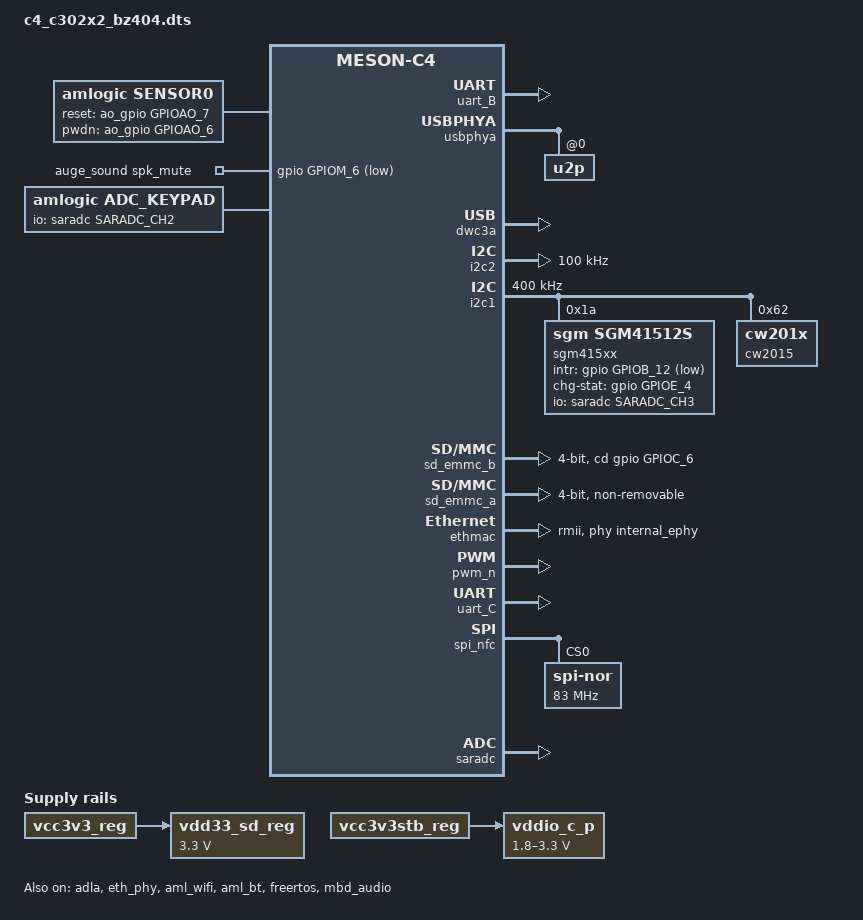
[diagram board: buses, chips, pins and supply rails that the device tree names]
// SPDX-License-Identifier: (GPL-2.0+ OR MIT)
/*
 * Copyright (c) 2019 Amlogic, Inc. All rights reserved.
 */

/dts-v1/;

#include "meson-c4.dtsi"
#include "mesonc4_audio.dtsi"
/ {
	amlogic-dt-id = "c4_c302x2_bz404";
	compatible = "c4_c302x2_bz404";

	aliases {
		serial0 = &uart_B;
		serial1 = &uart_C;
		serial2 = &uart_A;
		serial3 = &uart_E;
		serial4 = &uart_D;
		serial5 = &uart_F;
		i2c0 = &i2c0;
		i2c1 = &i2c1;
		i2c2 = &i2c2;
		i2c3 = &i2c3;
		i2c4 = &i2c4;
		spi0 = &spi_nfc;
		spi1 = &spicc0;
		spi2 = &spicc1;
		tsensor0 = &tsensor;
	};

	chosen {
		stdout-path = "serial0:115200n8";
		linux,initrd-start = <0x0 0x1780000>;
		linux,initrd-end = <0x0 0x2200000>;
		bootargs = "console=ttyS0,921600  earlycon=aml_uart,0xfe07a000
			debug initcall_debug=0 loglevel=7
			module_blacklist=amlogic_wireless
			ramdisk_size=10752 storage_async_load_ramdisk=1
			otg_device=1";
	};

	memory@0 {
		device_type = "memory";
		linux,usable-memory = <0x0 0x20000000>;
	};

	optee {
		compatible = "linaro,optee-tz";
		method = "smc";
		status = "disabled";
	};

	reserved-memory {
		#address-cells = <1>;
		#size-cells = <1>;
		ranges;

		ramdump_bl33z {
			compatible = "shared-dma-pool";
			size = <0x01800000>;
			alignment = <0x00400000>;
			alloc-ranges = <0x10000000 0x02000000>;
			linux,contiguous-region;
			no-map;
			status = "disabled";
		};

		ramdump_data@0 {
			reg = <0x0 0x0>;
			status = "disabled"; /* disabled as default */
		};

		skip_range_1 {
			compatible = "skip_mem";
			size = <0x00100000>;
			reg = <0x10000000 0x00100000>;
			no-map;
			status = "okay";
		};

		secmon_reserved:linux,secmon {
			compatible = "shared-dma-pool";
			no-map;
			alignment = <0x10000>;
			reg = <0x0fef0000 0x00110000>;
		};
		nna_cma_reserved: linux,nna_cma {
			compatible = "shared-dma-pool";
			//alloc-ranges = <0x70000000 0x18000000>;
			size = <0x1000000>;
			alignment = <0x400000>;
			reusable;
			//no-map;
			status = "disabled";
		};

		logo_reserved:linux,meson-fb {
			compatible = "shared-dma-pool";
			reusable;
			/* keep sync with fb */
			/* fox example:logo_addr = "0x3f800000"*/
			size = <0x1800000>;
			alignment = <0x400000>;
			reg = <0xe800000 0x1800000>;
				status = "disabled";
		};

		ion_cma_reserved:linux,ion-dev {
			compatible = "shared-dma-pool";
			reusable;
			size = <0x3000000>;
			alignment = <0x400000>;
				status = "disabled";
		};

		rootfs_reserved:linux,rootfs_reserved {
			compatible = "amlogic, aml_rootfs_memory";
			reg = <0x1080000 0xA00000>;
			status = "okay";
		};

		rtos_reserved:linux,rtos_reserved {
			compatible = "amlogic, aml_rtos_memory";
			status = "okay";
			size = <0x1F00000>;
			alignment = <0x100000>;
			reg = <0x2200000 0x1F00000>;
		};

		autocap_reserved:linux,autocap_reserved {
			compatible = "amlogic, aml_autocap_memory";
			status = "okay";
			reg = <0x6B00000 0xC00000>;
			venc_bsb_addr = <0x0>;
			venc_bsb_size = <0x0>;
			fastboot_buf_addr = <0xB700000>;
			fastboot_buf_size = <0x4000000>;
		};

		dsp_fw_reserved:linux,dsp_fw {
			compatible = "shared-dma-pool";
			reusable;
			alignment = <0x400000>;
			reg = <0x3400000 0x0>;
			status = "disabled";
		};

		ramoops@8400000 {
			compatible = "ramoops";
			status = "okay";
			reg = <0x08400000 0x00100000>;
			record-size = <0x20000>;
			console-size = <0x20000>;
			ftrace-size = <0x80000>;
			pmsg-size = <0x0>;
			no-map;
		};

		dmc_reserved:linux,dmc_monitor {
			compatible = "amlogic,dmc_monitor-reserved";
			reg = <0x0 0x0>;
				status = "disabled";
		};

		debug_reserved:linux,iotrace {
			compatible = "amlogic, iotrace";
			reg = <0x04f00000 0x00100000>;
			io-size = <0x1b000>;
			sched-size = <0x2000>;
			irq-size = <0x1000>;
			smc-size = <0x1000>;
			misc-size = <0x1000>;
			status = "disabled";
		};

		pmz_cma_a1_reserved:anonymous {
			compatible = "shared-dma-pool";
			no-map;
			size = <0xC800000>;
			alignment = <0x100000>;
			reg = <0x013800000 0xC800000>;
			status = "okay";
		};

		pmz_cma_a2_reserved:user_pmz {
			compatible = "shared-dma-pool";
			//reusable;
			no-map;
			alignment = <0x100000>;
			reg = <0xB700000 0x4000000>;
			status = "okay";

		};

		codec_mm_cma:linux,codec_mm_cma {
			compatible = "shared-dma-pool";
			reusable;
			/* ion_codec_mm max can alloc size 80M*/
			size = <0x2400000>;
			alignment = <0x400000>;
			linux,contiguous-region;
			status = "disabled";
		};
		/* codec shared reserved */
		codec_mm_reserved:linux,codec_mm_reserved {
			compatible = "amlogic, codec-mm-reserved";
			size = <0x0>;
			alignment = <0x100000>;
			//no-map;
			status = "disabled";
		};
		jpegenc_cma_reserved:linux,jpegenc_cma {
			compatible = "shared-dma-pool";
			reusable;
			size = <0x0>;
			alignment = <0x400000>;
			status = "disabled";
		};

		/* global autoconfigured region for contiguous allocations */
		linux,cma {
			compatible = "shared-dma-pool";
			reusable;
			size = <0x800000>;
			alignment = <0x400000>;
			alloc-ranges = <0x6000000 0x800000>;
			linux,cma-default;
		};
	};

	sensor0: sensor0 {
		compatible = "amlogic, sensor0";
		status = "okay";
		clocks = <&clkc CLKID_MCLK_PLL_CLK
				&clkc CLKID_MCLK0>;
		clock-names = "mclk_pll", "mclk";
		clock-frequency = <74250000>;
		devices-type = <0>;
		reset-gpios = <&ao_gpio GPIOAO_7 GPIO_ACTIVE_HIGH>;
		pwdn-gpios = <&ao_gpio GPIOAO_6 GPIO_ACTIVE_HIGH>;
	};

	pmz_a1_dev {
		compatible = "amlogic, pmz_dev";
		memory-region = <&pmz_cma_a1_reserved>;
		pmz-allocator = "priv";
	};

/* Audio Related start */
	auge_sound {
		compatible = "amlogic, auge-sound-card";
		aml-audio-card,name = "AML-AUGESOUND";
		spk_mute-gpios = <&gpio GPIOM_6 GPIO_ACTIVE_LOW>;
		spk_mute_sleep_time = <800>;

		aml-audio-card,dai-link@0 {
			format = "dsp_b";
			mclk-fs = <512>;
			//continuous-clock;
			//bitclock-inversion;
			//frame-inversion;
			/* master mode */
			bitclock-master = <&tdma>;
			frame-master = <&tdma>;
			/* slave mode */
			/*
			 * bitclock-master = <&tdmacodec>;
			 * frame-master = <&tdmacodec>;
			 */
			/* suffix-name, sync with android audio hal used for */
			suffix-name = "alsaPORT-pcm";
			tdmacpu: cpu {
				sound-dai = <&tdma>;
				dai-tdm-slot-tx-mask =
							<1 1>;
				dai-tdm-slot-rx-mask =
							<1 1>;
				dai-tdm-slot-num = <2>;
				dai-tdm-slot-width = <16>;
				system-clock-frequency = <256000>;
			};
			tdmacodec: codec {
				sound-dai = <&dummy_codec>;
			};
		};

		aml-audio-card,dai-link@1 {
			format = "i2s";
			mclk-fs = <256>;
			continuous-clock;
			//bitclock-inversion;
			//frame-inversion;
			/* master mode */
			bitclock-master = <&tdmb>;
			frame-master = <&tdmb>;
			/* slave mode */
			//bitclock-master = <&tdmbcodec>;
			//frame-master = <&tdmbcodec>;
			/* suffix-name, sync with android audio hal used for */
			suffix-name = "alsaPORT-i2s";
			cpu {
				sound-dai = <&tdmb>;
				dai-tdm-slot-tx-mask = <1 1>;
				dai-tdm-slot-rx-mask = <1 1>;
				dai-tdm-slot-num = <2>;
				dai-tdm-slot-width = <32>;
				system-clock-frequency = <12288000>;
			};
			tdmbcodec: codec {
				sound-dai = <&acodec>;
			};
		};

		aml-audio-card,dai-link@2 {
			mclk-fs = <64>;
			/* suffix-name, sync with android audio hal used for */
			suffix-name = "alsaPORT-pdm-builtinmic";
			cpu {
				sound-dai = <&pdma>;
			};
			codec {
				sound-dai = <&dummy_codec>;
			};
		};

		aml-audio-card,dai-link@3 {
			mclk-fs = <256>;
			continuous-clock;
			suffix-name = "alsaPORT-loopback";
			cpu {
				sound-dai = <&loopbacka>;
				system-clock-frequency = <12288000>;
			};
			codec {
				sound-dai = <&dummy_codec>;
			};
		};
		aml-audio-card,dai-link@4 {
			mclk-fs = <256>;
			suffix-name = "alsaPORT-Sed";
			cpu {
				sound-dai = <&sed>;
			};
			codec {
				sound-dai = <&dummy_codec>;
			};
		};
	};
	/* Audio Related end */
	picdec {
		compatible = "amlogic, picdec";
		status = "disabled";
	};

	//TF_PWR_EN :GPIOB_4(Default Pull up)
	//L: VDD3V3_SD = 0V (Default)
	vdd33_sd_reg: fixed@vdd33_sd_reg{
		compatible = "regulator-fixed";
		vin-supply = <&vcc3v3_reg>;
		regulator-name = "VDD33_SD";
		regulator-min-microvolt = <3300000>;
		regulator-max-microvolt = <3300000>;
		pinctrl-names = "default";
		//gpio = <&gpio GPIOB_4 GPIO_ACTIVE_HIGH>;
		startup-delay-us = <7000>;
		enable-active-high;
		regulator-boot-on;
		//regulator-always-on;
	};

	//FB: GPIOB_5(SD_SW Default up) Pull up 1.8V
	vddio_c_p: gpio-regulator@vddio_c_p {
		compatible = "regulator-gpio";
		regulator-name = "VDDIO_C_P";
		vin-supply = <&vcc3v3stb_reg>;
		regulator-min-microvolt = <1800000>;
		regulator-max-microvolt = <3300000>;
		//gpio = <&gpio GPIOB_5 GPIO_ACTIVE_HIGH>;
		gpios-states = <0>;
		startup-delay-us = <7000>;
		regulator-boot-on;
		//regulator-always-on;

		states = <1800000 1
			  3300000 0>;
	};

	unifykey{
		compatible = "amlogic,unifykey";
		status = "okay";
		unifykey-num = <2>;
		unifykey-index-0 = <&keysn_0>;
		unifykey-index-1 = <&keysn_1>;

		keysn_0: key_0{
			key-name = "usid";
			key-device = "normal";
			key-permit = "read","write","del";
		};
		keysn_1:key_1{
			key-name = "hdcp";
			key-device = "secure";
			key-type = "sha1";
			key-permit = "read","write","del";
		};
	};//End unifykey

	adc_keypad {
		compatible = "amlogic, adc_keypad";
		status = "okay";
		key_name = "update", "vol-", "vol+", "ok";
		key_num = <4>;
		io-channels = <&saradc SARADC_CH2>;
		io-channel-names = "key-chan-2";
		key_chan = <SARADC_CH2 SARADC_CH2 SARADC_CH2 SARADC_CH2>;
		key_code = <KEY_SETUP KEY_VOLUMEDOWN KEY_VOLUMEUP KEY_ENTER>;
		key_val = <0 252 468 684>;	// Unit: millivolt
		key_tolerance = <70 70 70 70>;	// Unit: millivolt
	};
};

&uart_B {
	status = "okay";
};

&usbphya {
	status = "okay";
	u2p@0 {
		status = "okay";
	};
};

&dwc3otg {
	status = "disabled";
	dr_mode = "otg"; /*otg, host,peripheral */
	controller-type = <1>; /*3:otg, 1: host,2:peripheral */
};

&dwc3a {
	status = "okay";
};

&i2c2 {
	status = "okay";
	pinctrl-names = "default", "sleep";
	pinctrl-0 = <&i2c2_master_pins1>;
	pinctrl-1 = <&i2c2_master_sleep_pins1>;
	clock-frequency = <100000>; /* default 100k */
};

&i2c1 {
	status= "okay";
	clock-frequency = <400000>;
	pinctrl-names = "default", "sleep";
	pinctrl-0 = <&i2c1_master_pins5>;
	pinctrl-1 = <&i2c1_master_sleep_pins5>;

	sgm415xx@1a {
		status = "okay";
		compatible = "sgm,sgm41512S";
		reg = <0x1A>;

		sgm,intr_gpio = <&gpio GPIOB_12 GPIO_ACTIVE_LOW>;
		sgm,chg-stat-gpio = <&gpio GPIOE_4 GPIO_ACTIVE_HIGH>;
		sgm,input-voltage-limit-microvolt = <4500000>;
		sgm,sys_min_voltage = <3700000>; //uV
		sgm,iprechg = <120000>; //uA
		sgm,iterm = <120000>; //uA
		sgm,vreg = <4350000>; //uV
		sgm,qc20 = <0>; //1:En, 0:dis
		io-channels = <&saradc SARADC_CH3>;   /* channel 3 */
	};

	cw2015: cw2015@62 {
		status = "okay";
		compatible = "cw201x";
		reg = <0x62>;
		bat_config_info = <0x15 0x7E 0x84 0x3C 0x1E 0x12 0x1A 0x45
				0x50 0x62 0x5A 0x4B 0x46 0x4C 0x53 0x59
				0x5A 0x5B 0x56 0x4C 0x46 0x43 0x43 0x46
				0x4A 0x4E 0x0C 0xCD 0x51 0x81 0x83 0x84
				0x85 0x84 0x83 0x83 0x37 0x0A 0x5E 0x29
				0x09 0x58 0x24 0x5A 0x87 0x93 0x94 0x32
				0x4D 0x7F 0x97 0xB3 0x80 0x6D 0x80 0xCB
				0x2F 0x00 0x64 0xA5 0xB5 0xC1 0x46 0xAE>;
		monitor_sec = <60>;
		virtual_power = <0>;
		divider_res1 = <200>;
		divider_res2 = <200>;
	};
};

&adla {
	status = "okay";
	memory-region = <&nna_cma_reserved>;
};

&sd_emmc_c {
	status = "disabled";
	pinctrl-0 = <&emmc_pins>;
	pinctrl-1 = <&emmc_clk_gate_pins>;
	pinctrl-2 = <&emmc_pins_sleep>;
	pinctrl-names = "default", "clk-gate", "sleep";
	bus-width = <8>;
	cap-mmc-highspeed;
	//mmc-ddr-1_8v;
	mmc-hs200-1_8v;
	mmc-hs400-1_8v;
	mmc-hs400-enhanced-strobe;
	max-frequency = <200000000>;
	non-removable;
	disable-wp;
};

&sd_emmc_b {
	status = "okay";
	pinctrl-0 = <&sdcard_pins>;
	pinctrl-1 = <&sdcard_clk_gate_pins>;
	pinctrl-2 = <&sd_1bit_pins>;
	pinctrl-names = "sd_default",
			"clk-gate",
			"sd_1bit_pins";
	bus-width = <4>;
	cap-sd-highspeed;
	//sd-uhs-sdr104;
	disable-wp;
	max-frequency = <200000000>;
	cd-gpios = <&gpio GPIOC_6 GPIO_ACTIVE_HIGH>;
	//vmmc-supply = <&vdd33_sd_reg>;
	//vqmmc-supply = <&vddio_c_p>;
};

&sd_emmc_a {
	status = "okay";
	pinctrl-0 = <&sdio_m_pins>;
	pinctrl-1 = <&sdio_m_clk_gate_pins>;
	pinctrl-names = "default", "clk-gate";
	bus-width = <4>;
	cap-sd-highspeed;
	sd-uhs-sdr104;
	non-removable;
	max-frequency = <200000000>;
	disable-wp;
};

&eth_phy {
	status = "okay";
};

&ethmac {
	status = "okay";
	phy-handle = <&internal_ephy>;
	phy-mode = "rmii";
	mc_val = <0x4be04>;
	phy-mii-clk-sel = <0x3>;
	eee-enable = <0>;
	amlogic,wol-enable;
};

&pwm_n {
	status = "okay";
	pinctrl-names = "default";
	pinctrl-0 = <&pwm_n_ao_pins1>;
};

&aml_wifi {
	status = "okay";
	interrupt-gpios = <&ao_gpio  GPIOAO_10  GPIO_ACTIVE_HIGH>;
	power_on-gpios = <&ao_gpio   GPIOAO_2  GPIO_ACTIVE_HIGH>;
};

&aml_bt {
	status = "okay";
};

&uart_C {
	status = "okay";
};

&mtd_nand {
	status = "disabled";
	#address-cells = <1>;
	#size-cells = <0>;

	pinctrl-names = "nand_norb_mod","nand_cs_only";
	pinctrl-0 = <&all_nand_pins>;
	pinctrl-1 = <&nand_cs_pins>;
	bl_mode = <1>;
	fip_copies = <4>;
	fip_size = <0x200000>;
	ship_bad_block = <1>;
	disa_irq_flag = <1>;
	nand@bootloader {
		reg = <0>;
		#address-cells = <1>;
		#size-cells = <1>;
		nand-ecc-maximize;
		partition@0 {
			label = "bootloader";
			reg = <0x0 0x00000000>;
		};
	};
	nand@normal {
		reg = <0>;
		#address-cells = <1>;
		#size-cells = <1>;
		nand-ecc-maximize;

		partition@0 {
			label = "tpl";
			reg = <0x0 0x00000000>;
		};
		partition@2 {
			label = "recovery";
			reg = <0x0 0x2000000>;
		};
		partition@3 {
			label = "boot";
			reg = <0x0 0x2000000>;
		};
		partition@4 {
			label = "system";
			reg = <0x0 0x13000000>;
		};
		partition@5 {
			label = "data";
			reg = <0x0 0xffffffff>;
		};
	};
};

&spi_nfc {
	status = "okay";
	pinctrl-names = "default";
	pinctrl-0 = <&spinf_pins>;
	spi-nand@0 {
		compatible = "spi-nand";
		status = "disabled";
		reg = <0>;
		spi-max-frequency = <83000000>;
		spi-tx-bus-width = <4>;
		spi-rx-bus-width = <4>;
	};
	spi-nor@0 {
		compatible = "spi-nor";
		status = "okay";
		reg = <0>;
		spi-tx-bus-width = <4>;
		spi-rx-bus-width = <4>;
		spi-max-frequency = <83000000>;
		m25p,fast-read;
		/* partition info sram addr */
		param_sram_addr = <0xf3c23800>;
		param_sram_size = <0x400>;
	};
};

&saradc {
	status = "okay";
};

&freertos {
	status = "okay";
};

&spicc0 {
	status = "disabled";
	pinctrl-names = "default";
	pinctrl-0 = <&spicc0_pins_m>;
};

&spicc1 {
	status = "disabled";
	pinctrl-names = "default";
	pinctrl-0 = <&spicc1_pins_d>;
};

&pdma {
	pinctrl-names = "pdm_pins";
	pinctrl-0 = <&pdmin>;
};

/*don't enable alsa config if mbd driver load*/
&mbd_audio {
	avout_mute-gpios = <&gpio GPIOM_6 GPIO_ACTIVE_HIGH>;
	hp_mute-gpios = <&gpio GPIOM_6 GPIO_ACTIVE_HIGH>;
	pinctrl-names = "mbd_audio_pins";
	pinctrl-0 = <&pdmin>;
	status = "okay";
};
